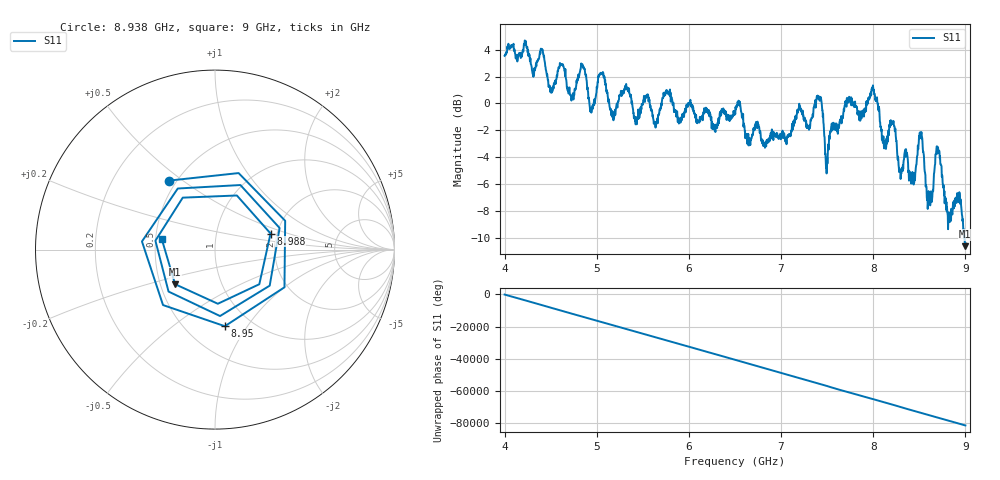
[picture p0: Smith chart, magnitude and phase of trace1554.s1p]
! Created with skrf 1.8.0 (http://scikit-rf.org).
# Hz S RI R 50.0
!freq ReS11 ImS11
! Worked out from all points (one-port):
!   1601 points, 4 GHz to 9 GHz, reference 50 ohm
!   lowest |S11| = -10.6 dB at 8.997 GHz (marker M1), VSWR 1.83, Z = 29.8 - j12.6 ohm
!   |S11| at or under -10 dB: 8.990011 GHz to end of sweep
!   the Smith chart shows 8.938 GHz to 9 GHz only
!   S11 on the Smith chart (normalised r, x): 8.938 GHz: 0.46, +0.45; 8.95 GHz: 0.76, -0.79; 8.988 GHz: 1.85, +0.37; 9 GHz: 0.54, +0.07
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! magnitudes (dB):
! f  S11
! 4 GHz  3.5
! 4.625 GHz  2.9
! 4.731 GHz  0.3
! 4.853 GHz  2.8
! 4.941 GHz  -0.7
! 5.047 GHz  2.2
! 5.162 GHz  -0.5
! 5.25 GHz  0.6
! 5.875 GHz  -0.9
! 6.5 GHz  -0.7
! 7.125 GHz  -2.0
! 7.412 GHz  0.3
! 7.5 GHz  -4.0
! 7.75 GHz  0.4
! 7.997 GHz  1.3
! 8.116 GHz  -3.2
! 8.209 GHz  -1.4
! 8.288 GHz  -5.1
! 8.375 GHz  -4.2
! 8.516 GHz  -2.2
! 8.606 GHz  -7.3
! 8.7 GHz  -3.4
! 8.819 GHz  -8.1
! 8.938 GHz  -6.7
! 8.95 GHz  -7.3
! 8.988 GHz  -9.8
! 8.997 GHz  -10.6
! 9 GHz  -10.4
